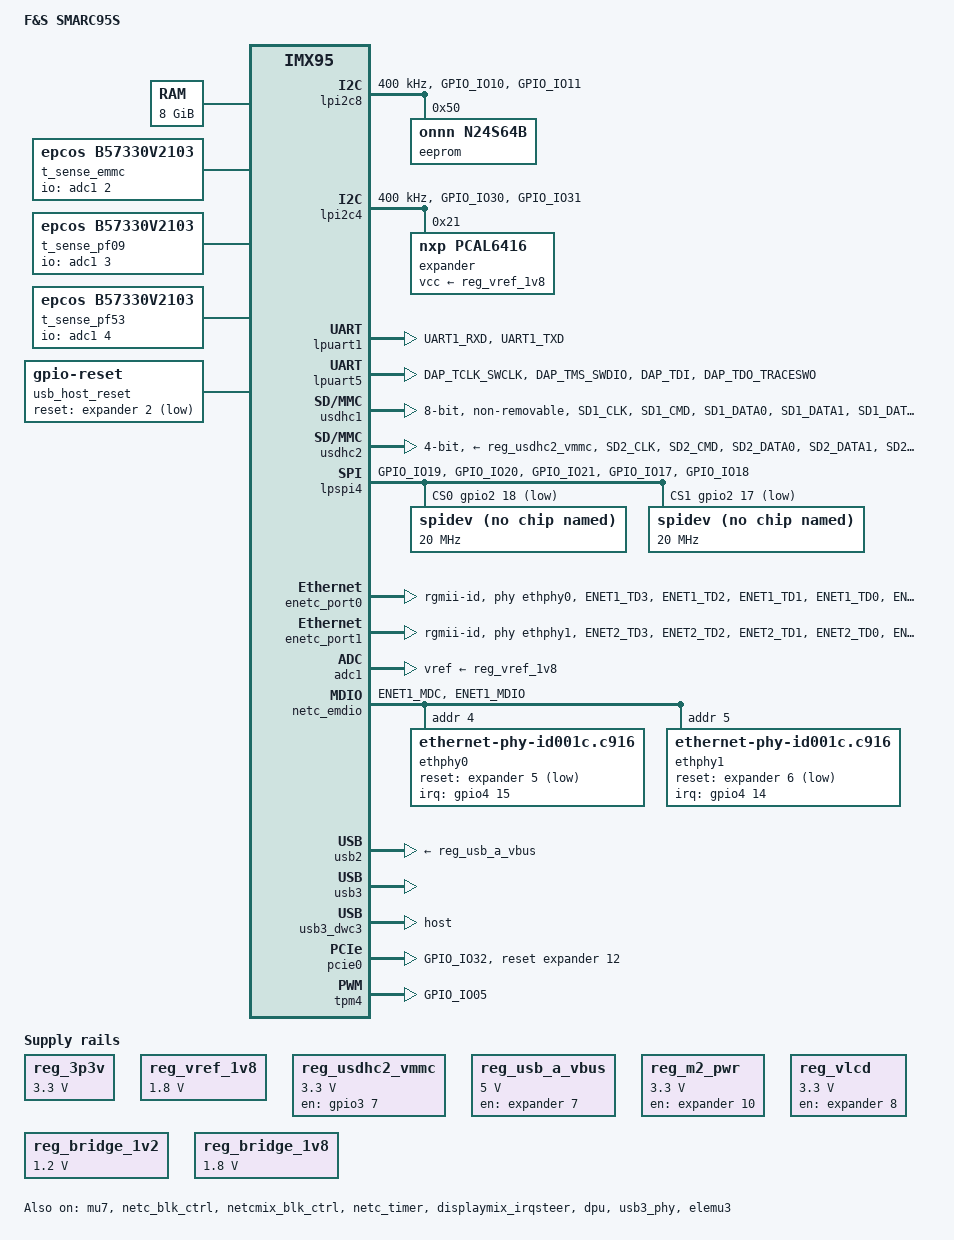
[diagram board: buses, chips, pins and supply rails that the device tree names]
// SPDX-License-Identifier: (GPL-2.0+ OR MIT)
/*
 * Copyright 2025 NXP
 */

/dts-v1/;

#include <dt-bindings/i3c/i3c.h>
#include <dt-bindings/leds/common.h>
#include <dt-bindings/phy/phy-imx8-pcie.h>
#include <dt-bindings/pwm/pwm.h>
#include <dt-bindings/usb/pd.h>
#include "../freescale/imx95.dtsi"

#define DEV_SM_NUM_CTRL             0x8000

#define BRD_SM_CTRL_T_SENSE_EV_n    (DEV_SM_NUM_CTRL +  0)  /*!< PCAL6524 Pin  1 */
#define BRD_SM_CTRL_BATLOW_n        (DEV_SM_NUM_CTRL +  1)  /*!< PCAL6524 Pin  2 */
#define BRD_SM_CTRL_CHARGER_PRSNT_n (DEV_SM_NUM_CTRL +  2)  /*!< PCAL6524 Pin  3 */
#define BRD_SM_CTRL_CHARGING_n      (DEV_SM_NUM_CTRL +  3)  /*!< PCAL6524 Pin  4 */
#define BRD_SM_CTRL_SMB_ALERT_n     (DEV_SM_NUM_CTRL +  4)  /*!< PCAL6524 Pin  5 */
#define BRD_SM_CTRL_TEST_n          (DEV_SM_NUM_CTRL +  5)  /*!< PCAL6524 Pin  6 */
#define BRD_SM_CTRL_SLEEP_n         (DEV_SM_NUM_CTRL +  6)  /*!< PCAL6524 Pin  7 */
#define BRD_SM_CTRL_LID_n           (DEV_SM_NUM_CTRL +  7)  /*!< PCAL6524 Pin  8 */
#define BRD_SM_CTRL_SEC_EN_IRQ_n    (DEV_SM_NUM_CTRL +  8)  /*!< PCAL6524 Pin  9 */
#define BRD_SM_CTRL_PCIe_A_WAKE_n   (DEV_SM_NUM_CTRL +  9)  /*!< PCAL6524 Pin 14 */
#define BRD_SM_CTRL_WLAN_WAKE_HOST  (DEV_SM_NUM_CTRL + 10)  /*!< PCAL6524 Pin 18 */
#define BRD_SM_CTRL_BT_WAKE_HOST    (DEV_SM_NUM_CTRL + 11)  /*!< PCAL6524 Pin 20 */
#define BRD_SM_CTRL_SN65DSI86_INT   (DEV_SM_NUM_CTRL + 12)  /*!< PCAL6524 Pin 21 */

fs_i2c_pm: &lpi2c2 {};
fs_i2c_gp: &lpi2c8 {};
fs_i2c_lcd: &lpi2c5 {};
fs_i2c_cam_a_lcd: &lpi2c3 {};
fs_i2c_cam_b: &lpi2c6 {};
fs_i2c_int: &lpi2c4 {};
fs_uart_a: &lpuart1 {};
fs_uart_b: &lpuart8 {};
fs_uart_c: &lpuart5 {};
fs_uart_d: &lpuart3 {};
emmc: &usdhc1 {};
fs_sdio_sd: &usdhc2 {};
fs_spi_a: &lpspi4 {};
fs_qspi: &flexspi1 {};
fs_eth_a: &enetc_port0 {};
fs_eth_b: &enetc_port1 {};
fs_csi0: &mipi_csi0 {};
fs_can0: &flexcan1 {};
fs_can1: &flexcan3 {};


/ {
	model = "F&S SMARC95S";
	compatible = "fsl,imx95-15x15-evk", "fsl,imx95";

	chosen {
		bootargs = "console=ttyLP0,115200";
		stdout-path = &fs_uart_a;
	};

	aliases {
		gpio0 = &gpio1;
		gpio1 = &gpio2;
		gpio2 = &gpio3;
		gpio3 = &gpio4;
		gpio4 = &gpio5;
		i2c0 = &fs_i2c_pm;
		i2c1 = &fs_i2c_gp;
		i2c2 = &fs_i2c_cam_a_lcd;
		i2c3 = &fs_i2c_cam_b;
		i2c4 = &fs_i2c_int;
		mmc0 = &emmc;
		mmc1 = &usdhc2;
		mmc2 = &usdhc3;
		serial0 = &fs_uart_a;
		serial1 = &fs_uart_b;
		serial2 = &fs_uart_c;
		serial3 = &fs_uart_d;
		ethernet0 = &fs_eth_a;
		ethernet1 = &fs_eth_b;
		spi0 = &fs_spi_a;
		spi1 = &fs_qspi;
		can0 = &fs_can0;
		can1 = &fs_can1;
	};

	memory@80000000 {
		device_type = "memory";
		reg = <
			0x0 0x80000000 0x0 0x80000000
			0x1 0x00000000 0x1 0x80000000
		>;
	};

	mali_pma: protected-memory-allocator {
		 compatible = "arm,protected-memory-allocator";
		 memory-region = <&mali_protected>;
	};

	reserved-memory {
		ranges;
		#address-cells = <2>;
		#size-cells = <2>;

		linux_cma: linux,cma {
			compatible = "shared-dma-pool";
			alloc-ranges = <0 0x80000000 0 0x7F000000>;
			reusable;
			size = <0 0x3c000000>;
			linux,cma-default;
		};

		vdev0vring0: vdev0vring0@88000000 {
			reg = <0 0x88000000 0 0x8000>;
			no-map;
		};

		vdev0vring1: vdev0vring1@88008000 {
			reg = <0 0x88008000 0 0x8000>;
			no-map;
		};

		vdev1vring0: vdev1vring0@88010000 {
			reg = <0 0x88010000 0 0x8000>;
			no-map;
		};

		vdev1vring1: vdev1vring1@88018000 {
			reg = <0 0x88018000 0 0x8000>;
			no-map;
		};

		vdevbuffer: vdevbuffer@88020000 {
			compatible = "shared-dma-pool";
			reg = <0 0x88020000 0 0x100000>;
			no-map;
		};

		rsc_table: rsc-table@88220000 {
			reg = <0 0x88220000 0 0x1000>;
			no-map;
		};

		vpu_boot: vpu_boot@a0000000 {
			reg = <0 0xa0000000 0 0x100000>;
			no-map;
		};

		mali_protected: mali_protected {
			reg = <0 0xa0100000 0 0x1000000>;
			no-map;
		};
	};
	/*
	dp_connector: dp-connector {
		compatible = "dp-connector";
		type = "full-size";

		port {
			dp_connector_in: endpoint {
				remote-endpoint = <&sn65dsi86_out>;
			};
		};
	};*/

	t_sense_emmc: thermistor-1 {
		/* "epcos,b57330v2103" has the same B values as Panasonic ERT-JZEG103FA */
		compatible = "epcos,b57330v2103";
		io-channels = <&adc1 2>;
		pullup-uv = <1800000>;
		pullup-ohm = <10000>;
		pulldown-ohm = <0>;
		#thermal-sensor-cells = <0>;
    };

	t_sense_pf09: thermistor-2 {
		/* "epcos,b57330v2103" has the same B values as Panasonic ERT-JZEG103FA */
		compatible = "epcos,b57330v2103";
		io-channels = <&adc1 3>;
		pullup-uv = <1800000>;
		pullup-ohm = <10000>;
		pulldown-ohm = <0>;
		#thermal-sensor-cells = <0>;
    };

	t_sense_pf53: thermistor-3 {
		/* "epcos,b57330v2103" has the same B values as Panasonic ERT-JZEG103FA */
		compatible = "epcos,b57330v2103";
		io-channels = <&adc1 4>;
		pullup-uv = <1800000>;
		pullup-ohm = <10000>;
		pulldown-ohm = <0>;
		#thermal-sensor-cells = <0>;
    };

	reg_3p3v: regulator-3p3v {
		compatible = "regulator-fixed";
		regulator-max-microvolt = <3300000>;
		regulator-min-microvolt = <3300000>;
		regulator-name = "+V3.3_SW";
		regulator-always-on;
	};

	reg_vref_1v8: regulator_1v8 {
		compatible = "regulator-fixed";
		regulator-name = "vref-1V8";
		regulator-min-microvolt = <1800000>;
		regulator-max-microvolt = <1800000>;
		regulator-always-on;
		regulator-boot-on;
	};

	reg_usdhc2_vmmc: regulator-usdhc2 {
		compatible = "regulator-fixed";
		pinctrl-names = "default";
		pinctrl-0 = <&pinctrl_reg_usdhc2_vmmc>;
		regulator-name = "VDD_SD2_3V3";
		regulator-min-microvolt = <3300000>;
		regulator-max-microvolt = <3300000>;
		gpio = <&gpio3 7 GPIO_ACTIVE_HIGH>;
		off-on-delay-us = <12000>;
		enable-active-high;
	};

	reg_usb_a_vbus: regulator-usb-a-vbus {
		compatible = "regulator-fixed";
		regulator-name = "usb_a_vbus";
		regulator-min-microvolt = <5000000>;
		regulator-max-microvolt = <5000000>;
		gpio = <&expander 7 GPIO_ACTIVE_HIGH>; /* P0_7 controls USB_A_EN_3v3*/
		enable-active-high;
	};

	reg_m2_pwr: regulator-m2-pwr {
		compatible = "regulator-fixed";
		regulator-name = "M.2-power";
		regulator-min-microvolt = <3300000>;
		regulator-max-microvolt = <3300000>;
		gpio = <&expander 10 GPIO_ACTIVE_HIGH>;
		enable-active-high;
		regulator-always-on;
	};

	reg_vlcd: vlcd {
		compatible = "regulator-fixed";
		regulator-name = "VLCD_ON";
		gpio = <&expander 8 GPIO_ACTIVE_HIGH>;
		regulator-min-microvolt = <3300000>;
		regulator-max-microvolt = <3300000>;
		enable-active-high;
	};

	reg_bridge_1v2: regulator-bridge-1v2 {
		compatible = "regulator-fixed";
		regulator-name = "SN65DSI86_1V2";
		regulator-min-microvolt = <1200000>;
		regulator-max-microvolt = <1200000>;
		regulator-always-on;
	};

	reg_bridge_1v8: regulator-bridge-1v8 {
		compatible = "regulator-fixed";
		regulator-name = "SN65DSI86_1V8";
		regulator-min-microvolt = <1800000>;
		regulator-max-microvolt = <1800000>;
		regulator-always-on;
	};

	usb_host_reset: gpio-reset {
		compatible = "gpio-reset";
		reset-gpios = <&expander 2 GPIO_ACTIVE_LOW>;
		reset-delay-us = <1000>;
		#reset-cells = <0>;
	};

	/* SE050 power on voltage */
	reg_vref_se050: regulator_se050 {
		compatible = "regulator-fixed";
		regulator-name = "SE050_IRQ";
		gpio = <&pcal6524 8 GPIO_ACTIVE_LOW>;
		regulator-min-microvolt = <1800000>;
		regulator-max-microvolt = <1800000>;
		regulator-always-on;
		enable-active-high;
		status = "disabled";
	};
};

&adc1 {
	vref-supply = <&reg_vref_1v8>;
	status = "okay";
};

&fs_qspi {
	num-cs = <2>;
	pinctrl-names = "default";
	pinctrl-0 = <&pinctrl_flexspi1 &pinctrl_flexspi1_spi_cs>;
	//assigned-clock-rates = <80000000>;
	status = "disabled";

	spidev@0 {
		compatible = "linux,spidev";
		reg = <0>;
		spi-max-frequency = <20000000>;
		status = "okay";
	};

	spidev@1 {
		compatible = "linux,spidev";
		reg = <1>;
		spi-max-frequency = <20000000>;
		status = "okay";
	};
};

&fs_spi_a {
	pinctrl-names = "default";
	pinctrl-0 = <&pinctrl_lpspi4 &pinctrl_lpspi4_cs>;
	cs-gpios = <&gpio2 18 GPIO_ACTIVE_LOW>, <&gpio2 17 GPIO_ACTIVE_LOW>;
	num-cs = <2>;
	status = "okay";

	spidev@0 {
		compatible = "linux,spidev";
		spi-max-frequency = <20000000>;
		reg = <0>;
		status = "okay";
	};

	spidev@1 {
		compatible = "linux,spidev";
		spi-max-frequency = <20000000>;
		reg = <1>;
		status = "okay";
	};
};

&flexcan1 {
	pinctrl-names = "default";
	pinctrl-0 = <&pinctrl_flexcan1>;
	status = "disabled";
};

&flexcan3 {
	pinctrl-names = "default";
	pinctrl-0 = <&pinctrl_flexcan3>;
	status = "disabled";
};

&sai2 {
    status = "disabled";
};

&fs_i2c_gp {
	#address-cells = <1>;
	#size-cells = <0>;
	clock-frequency = <400000>;
	pinctrl-names = "default";
	pinctrl-0 = <&pinctrl_lpi2c8>;
	status = "okay";

	eeprom: eeprom@50 {
		compatible = "onnn,n24s64b", "atmel,24c64";
		reg = <0x50>;
		size = <8192>;
		pagesize = <32>;
	};
};

&fs_i2c_pm {
	#address-cells = <1>;
	#size-cells = <0>;
	clock-frequency = <400000>;
	pinctrl-names = "default";
	pinctrl-0 = <&pinctrl_lpi2c2>;
	status = "disabled";

	pcal6524: gpio@22 {
		compatible = "nxp,pcal6524";
		pinctrl-names = "default";
		pinctrl-0 = <&pinctrl_pcal6524>;
		reg = <0x22>;
		gpio-controller;
		#gpio-cells = <2>;
		interrupt-controller;
		#interrupt-cells = <2>;
		interrupt-parent = <&gpio5>;
		interrupts = <14 IRQ_TYPE_LEVEL_LOW>;
		status = "disabled";
	};
};

&fs_i2c_lcd {
	#address-cells = <1>;
	#size-cells = <0>;
	clock-frequency = <400000>;
	pinctrl-names = "default";
	pinctrl-0 = <&pinctrl_lpi2c5>;
	status = "disabled";
};


&fs_i2c_int {
	#address-cells = <1>;
	#size-cells = <0>;
	clock-frequency = <400000>;
	pinctrl-names = "default";
	pinctrl-0 = <&pinctrl_lpi2c4>;
	status = "okay";

    expander: gpio@21 {
        compatible = "nxp,pcal6416";
        reg = <0x21>;

        vcc-supply = <&reg_vref_1v8>;

        gpio-controller;
        #gpio-cells = <2>;
        ngpios = <16>;
        pcal6416,port0-open-drain;
        gpio-line-names =
            "bt_rst",
            "wlan_rst",
            "usb_hub_rst",
            "wlan_bt_pd",
            "usb_c_en",
            "eth_a_phy_rst",
            "eth_b_phy_rst",
            "usb_a_en",
            "lvds_a_vdd_en",
            "lvds_a_bl_en",
            "lvds_b_vdd_en",
            "lvds_b_bl_en",
            "pcie_rst",
            "sn65dsi86_en",
            "wlan_wake_dev",
            "bt_wake_dev";
    };
};

&lpi2c5 {
	#address-cells = <1>;
	#size-cells = <0>;
	clock-frequency = <400000>;
	pinctrl-names = "default";
	pinctrl-0 = <&pinctrl_lpi2c5>;
	status = "disabled";
};

/* M33 and A55 */
&fs_uart_a {
	/* console */
	pinctrl-names = "default";
	pinctrl-0 = <&pinctrl_uart1>;
	status = "okay";
};

&fs_uart_b {
    status = "disabled";
};

&fs_uart_c {
	pinctrl-names = "default";
	pinctrl-0 = <&pinctrl_uart5>;
	fsl,uart-has-rtscts;
    status = "okay";
};

/* M7 */
&fs_uart_d {
    status = "disabled";
};

&usdhc1 {
	pinctrl-names = "default", "state_100mhz", "state_200mhz";
	pinctrl-0 = <&pinctrl_usdhc1>;
	pinctrl-1 = <&pinctrl_usdhc1_100mhz>;
	pinctrl-2 = <&pinctrl_usdhc1_200mhz>;
	bus-width = <8>;
	non-removable;
	no-sdio;
	no-sd;
	status = "okay";
};

&usdhc2 {
	pinctrl-names = "default", "state_100mhz", "state_200mhz";
	pinctrl-0 = <&pinctrl_usdhc2>, <&pinctrl_usdhc2_gpio>;
	pinctrl-1 = <&pinctrl_usdhc2_100mhz>, <&pinctrl_usdhc2_gpio>;
	pinctrl-2 = <&pinctrl_usdhc2_200mhz>, <&pinctrl_usdhc2_gpio>;
	cd-gpios = <&gpio3 00 GPIO_ACTIVE_LOW>;
	vmmc-supply = <&reg_usdhc2_vmmc>;
	bus-width = <4>;
	status = "okay";
};

&netc_bus0 {
	msi-map = <0x0 &its 0x60 0x1>,	//ENETC0 PF
		  <0x10 &its 0x61 0x1>, //ENETC0 VF0
		  <0x20 &its 0x62 0x1>, //ENETC0 VF1
		  <0x40 &its 0x63 0x1>, //ENETC1 PF
		  <0x50 &its 0x65 0x1>, //ENETC1 VF0
		  <0x60 &its 0x66 0x1>, //ENETC1 VF1
		  <0x80 &its 0x64 0x1>, //ENETC2 PF
		  <0xc0 &its 0x67 0x1>; //NETC Timer
	iommu-map = <0x0 &smmu 0x20 0x1>,
		    <0x10 &smmu 0x21 0x1>,
		    <0x20 &smmu 0x22 0x1>,
		    <0x40 &smmu 0x23 0x1>,
		    <0x50 &smmu 0x25 0x1>,
		    <0x60 &smmu 0x26 0x1>,
		    <0x80 &smmu 0x24 0x1>,
		    <0xc0 &smmu 0x27 0x1>;
};

&fs_eth_a {
	pinctrl-names = "default";
	pinctrl-0 = <&pinctrl_enetc0>;
	phy-handle = <&ethphy0>;
	phy-mode = "rgmii-id";
	status = "okay";
};

&fs_eth_b {
	pinctrl-names = "default";
	pinctrl-0 = <&pinctrl_enetc1>;
	phy-handle = <&ethphy1>;
	phy-mode = "rgmii-id";
	status = "okay";
};


&mali {
	protected-memory-allocator = <&mali_pma>;
};


&mu7 {
	status = "okay";
};

&netc_blk_ctrl {
	status = "okay";
};

&netcmix_blk_ctrl {
	status = "okay";
};

&netc_timer {
	status = "okay";
};


&netc_emdio {
    pinctrl-names = "default";
    pinctrl-0 = <&pinctrl_emdio>;
    status = "okay";

    ethphy0: ethernet-phy@4 {
        reg = <4>;
		/* RTL8211FDI : 001c.c916 */
		compatible = "ethernet-phy-id001c.c916";
        interrupt-parent = <&gpio4>;
        interrupts = <15 IRQ_TYPE_LEVEL_LOW>;
        reset-gpios = <&expander 5 GPIO_ACTIVE_LOW>;
        reset-assert-us = <50000>;
        reset-deassert-us = <150000>;
    };

    ethphy1: ethernet-phy@5 {
        reg = <5>;
		/* RTL8211FDI : 001c.c916 */
		compatible = "ethernet-phy-id001c.c916";
        interrupt-parent = <&gpio4>;
        interrupts = <14 IRQ_TYPE_LEVEL_LOW>;
        reset-gpios = <&expander 6 GPIO_ACTIVE_LOW>;
        reset-assert-us = <50000>;
        reset-deassert-us = <150000>;
    };
};

&i3c2 {
    status = "disabled";
};

&usb2 {
    status = "okay";
    vbus-supply = <&reg_usb_a_vbus>;
    disable-over-current;
};

&displaymix_irqsteer {
	status = "okay";
};

&dpu {
	status = "okay";
};

&usb3_phy {
	status = "okay";
	/delete-property/ orientation-switch;
	fsl,tca-reverse-orientation;
};

/* USB3_GLUE */
&usb3 { status = "okay"; };
&usb3_dwc3 {
    resets = <&usb_host_reset>;
    status = "okay";
    dr_mode = "host";
    /* vbus on wired to 3v3 */
    disable-over-current;
	hnp-disable;
    srp-disable;
    adp-disable;
    snps,dis-u1-entry-quirk;
    snps,dis-u2-entry-quirk;
	fsl,permanently-attached; /* USB hub is permanently attached */
};

&pcie0 {
	pinctrl-0 = <&pinctrl_pcie0>;
	pinctrl-names = "default";
	fsl,refclk-pad-mode = <IMX8_PCIE_REFCLK_PAD_OUTPUT>;
	reset-gpio = <&expander 12 GPIO_ACTIVE_HIGH>;
	vpcie-supply = <&reg_m2_pwr>;
	/delete-property/ supports-clkreq;
	status = "okay";
};

&vpuctrl {
	boot = <&vpu_boot>;
	sram = <&sram1>;
};

&thermal_zones {
	pf09 {
		polling-delay-passive = <250>;
		polling-delay = <2000>;
		thermal-sensors = <&scmi_sensor 2>;
		trips {
			pf09_alert: trip0 {
				temperature = <140000>;
				hysteresis = <2000>;
				type = "passive";
			};

			pf09_crit: trip1 {
				temperature = <155000>;
				hysteresis = <2000>;
				type = "critical";
			};
		};
	};

	pf53_soc {
		polling-delay-passive = <250>;
		polling-delay = <2000>;
		thermal-sensors = <&scmi_sensor 3>;
		trips {
			pf5302_alert: trip0 {
				temperature = <140000>;
				hysteresis = <2000>;
				type = "passive";
			};

			pf5302_crit: trip1 {
				temperature = <155000>;
				hysteresis = <2000>;
				type = "critical";
			};
		};
	};

	pf53_arm {
		polling-delay-passive = <250>;
		polling-delay = <2000>;
		thermal-sensors = <&scmi_sensor 4>;
		trips {
			pf5301_alert: trip0 {
				temperature = <140000>;
				hysteresis = <2000>;
				type = "passive";
			};

			pf5301_crit: trip1 {
				temperature = <155000>;
				hysteresis = <2000>;
				type = "critical";
			};
		};
	};

	p3t1755 {
		polling-delay-passive = <250>;
		polling-delay = <2000>;
		thermal-sensors = <&scmi_sensor 5>;
		trips {
			p3t1755_alert: trip0 {
				temperature = <80000>;
				hysteresis = <2000>;
				type = "passive";
			};

			p3t1755_crit: trip1 {
				temperature = <105000>;
				hysteresis = <2000>;
				type = "critical";
			};
		};
	};

	emmc_ntc {
		polling-delay-passive = <1000>;
		polling-delay = <2000>;
		thermal-sensors = <&t_sense_emmc>;
		trips {
			emmc_crit: trip0 {
				temperature = <125000>;
				hysteresis = <2000>;
				type = "critical";
			};
		};
	};

	pf09_ntc {
		polling-delay-passive = <1000>;
		polling-delay = <2000>;
		thermal-sensors = <&t_sense_pf09>;
		trips {
			pf09_ntc_crit: trip0 {
				temperature = <125000>;
				hysteresis = <2000>;
				type = "critical";
			};
		};
	};

	pf53_ntc {
		polling-delay-passive = <1000>;
		polling-delay = <2000>;
		thermal-sensors = <&t_sense_pf53>;
		trips {
			pf53_ntc_crit: trip0 {
				temperature = <125000>;
				hysteresis = <2000>;
				type = "critical";
			};
		};
	};
};


&scmi_misc {
	nxp,ctrl-ids = <BRD_SM_CTRL_T_SENSE_EV_n    1
			BRD_SM_CTRL_BATLOW_n        1
			BRD_SM_CTRL_CHARGER_PRSNT_n 1
			BRD_SM_CTRL_CHARGING_n      1
			BRD_SM_CTRL_SMB_ALERT_n     1
			BRD_SM_CTRL_TEST_n          1
			BRD_SM_CTRL_SLEEP_n         1
			BRD_SM_CTRL_LID_n           1
			BRD_SM_CTRL_SEC_EN_IRQ_n    1
			BRD_SM_CTRL_PCIe_A_WAKE_n   1
			BRD_SM_CTRL_WLAN_WAKE_HOST  1
			BRD_SM_CTRL_BT_WAKE_HOST    1
			BRD_SM_CTRL_SN65DSI86_INT   1>;
};

&scmi_iomuxc {

	pinctrl_flexspi1: flexspi1spigrp {
		fsl,pins = <
			IMX95_PAD_SD3_CLK__FLEXSPI1_A_SCLK			0x82
			IMX95_PAD_SD3_DATA0__FLEXSPI1_A_DATA_BIT0		0x82
			IMX95_PAD_SD3_DATA1__FLEXSPI1_A_DATA_BIT1		0x82
			IMX95_PAD_SD3_DATA2__FLEXSPI1_A_DATA_BIT2		0x82
			IMX95_PAD_SD3_DATA3__FLEXSPI1_A_DATA_BIT3		0x82
		>;
	};

	pinctrl_flexspi1_spi_cs: flexspi1spicsgrp {
		fsl,pins = <
			IMX95_PAD_SD3_CMD__FLEXSPI1_A_SS0_B			0x82
			IMX95_PAD_XSPI1_SS1_B__FLEXSPI1_A_SS1_B			0x82
		>;
	};

	pinctrl_lpspi4: lpspi4grp {
		fsl,pins = <
			IMX95_PAD_GPIO_IO19__LPSPI4_SIN				0x82
			IMX95_PAD_GPIO_IO20__LPSPI4_SOUT			0x82
			IMX95_PAD_GPIO_IO21__LPSPI4_SCK				0x82
		>;
	};

	pinctrl_lpspi4_cs: lpspi4cs {
		fsl,pins = <
			IMX95_PAD_GPIO_IO17__GPIO2_IO_BIT17 			0x82
			IMX95_PAD_GPIO_IO18__GPIO2_IO_BIT18			0x82
		>;
	};

	pinctrl_flexcan1: flexcan1grp {
		fsl,pins = <
			IMX95_PAD_PDM_CLK__AONMIX_TOP_CAN1_TX			0x154
			IMX95_PAD_PDM_BIT_STREAM0__AONMIX_TOP_CAN1_RX		0x154
		>;
	};

	pinctrl_flexcan3: flexcan3grp {
		fsl,pins = <
			IMX95_PAD_CCM_CLKO3__CAN3_TX				0x154
			IMX95_PAD_CCM_CLKO4__CAN3_RX				0x154
		>;
	};


	pinctrl_lpi2c1: lpi2c1grp {
		fsl,pins = <
			IMX95_PAD_I2C1_SCL__AONMIX_TOP_LPI2C1_SCL	0x40000b9e
			IMX95_PAD_I2C1_SDA__AONMIX_TOP_LPI2C1_SDA	0x40000b9e
		>;
	};

	pinctrl_lpi2c2: lpi2c2grp {
		fsl,pins = <
			IMX95_PAD_I2C2_SCL__AONMIX_TOP_LPI2C2_SCL	0x40000b9e
			IMX95_PAD_I2C2_SDA__AONMIX_TOP_LPI2C2_SDA	0x40000b9e
		>;
	};

	pinctrl_lpi2c8: lpi2c8grp {
		fsl,pins = <
			IMX95_PAD_GPIO_IO10__LPI2C8_SDA			0x40000b9e
			IMX95_PAD_GPIO_IO11__LPI2C8_SCL			0x40000b9e
		>;
	};

	pinctrl_lpi2c3: lpi2c3grp {
		fsl,pins = <
			IMX95_PAD_GPIO_IO28__LPI2C3_SDA			0x40000b9e
			IMX95_PAD_GPIO_IO29__LPI2C3_SCL			0x40000b9e
		>;
	};

	pinctrl_lpi2c4: lpi2c4grp {
		fsl,pins = <
			IMX95_PAD_GPIO_IO30__LPI2C4_SDA			0x40000b9e
			IMX95_PAD_GPIO_IO31__LPI2C4_SCL			0x40000b9e
		>;
	};

	pinctrl_lpi2c6: lpi2c6grp {
		fsl,pins = <
			IMX95_PAD_GPIO_IO02__LPI2C6_SDA			0x40000b9e
			IMX95_PAD_GPIO_IO03__LPI2C6_SCL			0x40000b9e
		>;
	};

	pinctrl_lpi2c5: lpi2c5grp {
		fsl,pins = <
			IMX95_PAD_GPIO_IO00__LPI2C5_SDA			0x40000b9e
			IMX95_PAD_GPIO_IO01__LPI2C5_SCL			0x40000b9e
		>;
	};

//	pinctrl_mipi_dsi_csi: mipidsigrp {
//		fsl,pins = <
//			IMX95_PAD_CCM_CLKO3__GPIO4_IO_BIT28			0x31e
//			IMX95_PAD_XSPI1_DATA6__GPIO5_IO_BIT6			0x31e
//			IMX95_PAD_XSPI1_DATA7__GPIO5_IO_BIT7		0x31e
//		>;
//	};

	pinctrl_pcal6524: pcal6524grp {
		fsl,pins = <
			IMX95_PAD_GPIO_IO34__GPIO5_IO_BIT14		0x31e
		>;
	};

	pinctrl_pcie0: pcie0grp {
		fsl,pins = <
			IMX95_PAD_GPIO_IO32__HSIOMIX_TOP_PCIE1_CLKREQ_B		0x40000b1e
		>;
	};

	pinctrl_uart1: uart1grp {
		fsl,pins = <
			IMX95_PAD_UART1_RXD__AONMIX_TOP_LPUART1_RX      0x31e
			IMX95_PAD_UART1_TXD__AONMIX_TOP_LPUART1_TX      0x31e
		>;
	};

	pinctrl_uart8: uart8grp {
		fsl,pins = <
        	IMX95_PAD_GPIO_IO12__LPUART8_TX  0x31e
        	IMX95_PAD_GPIO_IO13__LPUART8_RX  0x31e
		>;
	};

	pinctrl_uart5: uart5grp {
		fsl,pins = <
			IMX95_PAD_DAP_TCLK_SWCLK__LPUART5_CTS_B 0x31e /* UART_C_BT_CTS */
			IMX95_PAD_DAP_TMS_SWDIO__LPUART5_RTS_B 0x31e /* UART_C_BT_RTS */
			IMX95_PAD_DAP_TDI__LPUART5_RX 0x31e /* UART_C_BT_RX */
			IMX95_PAD_DAP_TDO_TRACESWO__LPUART5_TX 0x31e /* UART_C_BT_TX */
		>;
	};

	pinctrl_enetc0: enetc0grp {
		fsl,pins = <
			IMX95_PAD_ENET1_TD3__NETCMIX_TOP_ETH0_RGMII_TD3		0x50e
			IMX95_PAD_ENET1_TD2__NETCMIX_TOP_ETH0_RGMII_TD2		0x50e
			IMX95_PAD_ENET1_TD1__NETCMIX_TOP_ETH0_RGMII_TD1		0x50e
			IMX95_PAD_ENET1_TD0__NETCMIX_TOP_ETH0_RGMII_TD0		0x50e
			IMX95_PAD_ENET1_TX_CTL__NETCMIX_TOP_ETH0_RGMII_TX_CTL	0x57e
			IMX95_PAD_ENET1_TXC__NETCMIX_TOP_ETH0_RGMII_TX_CLK	0x58e
			IMX95_PAD_ENET1_RX_CTL__NETCMIX_TOP_ETH0_RGMII_RX_CTL	0x57e
			IMX95_PAD_ENET1_RXC__NETCMIX_TOP_ETH0_RGMII_RX_CLK	0x58e
			IMX95_PAD_ENET1_RD0__NETCMIX_TOP_ETH0_RGMII_RD0		0x57e
			IMX95_PAD_ENET1_RD1__NETCMIX_TOP_ETH0_RGMII_RD1		0x57e
			IMX95_PAD_ENET1_RD2__NETCMIX_TOP_ETH0_RGMII_RD2		0x57e
			IMX95_PAD_ENET1_RD3__NETCMIX_TOP_ETH0_RGMII_RD3		0x57e
			/* ETH_A_INT# (Pad ENET2_MDIO as GPIO) */
			IMX95_PAD_ENET2_MDIO__GPIO4_IO_BIT15			0x31e
		>;
	};

	pinctrl_enetc1: enetc1grp {
		fsl,pins = <
			/* RGMII Pins for Port 1 */
			IMX95_PAD_ENET2_TD3__NETCMIX_TOP_ETH1_RGMII_TD3		0x50e
			IMX95_PAD_ENET2_TD2__NETCMIX_TOP_ETH1_RGMII_TD2		0x50e
			IMX95_PAD_ENET2_TD1__NETCMIX_TOP_ETH1_RGMII_TD1		0x50e
			IMX95_PAD_ENET2_TD0__NETCMIX_TOP_ETH1_RGMII_TD0		0x50e
			IMX95_PAD_ENET2_TX_CTL__NETCMIX_TOP_ETH1_RGMII_TX_CTL	0x57e
			IMX95_PAD_ENET2_TXC__NETCMIX_TOP_ETH1_RGMII_TX_CLK	0x58e
			IMX95_PAD_ENET2_RX_CTL__NETCMIX_TOP_ETH1_RGMII_RX_CTL	0x57e
			IMX95_PAD_ENET2_RXC__NETCMIX_TOP_ETH1_RGMII_RX_CLK	0x58e
			IMX95_PAD_ENET2_RD0__NETCMIX_TOP_ETH1_RGMII_RD0		0x57e
			IMX95_PAD_ENET2_RD1__NETCMIX_TOP_ETH1_RGMII_RD1		0x57e
			IMX95_PAD_ENET2_RD2__NETCMIX_TOP_ETH1_RGMII_RD2		0x57e
			IMX95_PAD_ENET2_RD3__NETCMIX_TOP_ETH1_RGMII_RD3		0x57e
			/* ETH_B_INT# (Pad ENET2_MDC as GPIO) */
			IMX95_PAD_ENET2_MDC__GPIO4_IO_BIT14			0x31e
		>;
	};

	pinctrl_emdio: emdiogrp {
		fsl,pins = <
			IMX95_PAD_ENET1_MDC__NETCMIX_TOP_NETC_MDC		0x30e
			IMX95_PAD_ENET1_MDIO__NETCMIX_TOP_NETC_MDIO		0x90e
		>;
	};

	// pinctrl_cam1: csi1grp {
	// 	fsl,pins = <
	// 		IMX95_PAD_XSPI1_DATA5__GPIO5_IO_BIT5  						0x31e
	// 		IMX95_PAD_XSPI1_DATA7__GPIO5_IO_BIT7  						0x31e
	// 	>;
	// };

	// pinctrl_cam_mclk: cammclkgrp {
	// 	fsl,pins = <
	// 		IMX95_PAD_CCM_CLKO2__CCMSRCGPCMIX_TOP_CLKO_2 				0x1fe
	// 	>;
	// };

	pinctrl_mipi_dsi_csi: mipidsigrp {
		fsl,pins = <
			IMX95_PAD_XSPI1_DATA4__GPIO5_IO_BIT4  						0x31e
			IMX95_PAD_CCM_CLKO2__CCMSRCGPCMIX_TOP_CLKO_2 				0x1fe
		>;
	};

	/* eMMC */
	pinctrl_usdhc1: usdhc1grp {
		fsl,pins = <
			IMX95_PAD_SD1_CLK__USDHC1_CLK				0x158e
			IMX95_PAD_SD1_CMD__USDHC1_CMD				0x138e
			IMX95_PAD_SD1_DATA0__USDHC1_DATA0			0x138e
			IMX95_PAD_SD1_DATA1__USDHC1_DATA1			0x138e
			IMX95_PAD_SD1_DATA2__USDHC1_DATA2			0x138e
			IMX95_PAD_SD1_DATA3__USDHC1_DATA3			0x138e
			IMX95_PAD_SD1_DATA4__USDHC1_DATA4			0x138e
			IMX95_PAD_SD1_DATA5__USDHC1_DATA5			0x138e
			IMX95_PAD_SD1_DATA6__USDHC1_DATA6			0x138e
			IMX95_PAD_SD1_DATA7__USDHC1_DATA7			0x138e
			IMX95_PAD_SD1_STROBE__USDHC1_STROBE			0x158e
		>;
	};

	pinctrl_usdhc1_100mhz: usdhc1-100mhzgrp {
		fsl,pins = <
			IMX95_PAD_SD1_CLK__USDHC1_CLK				0x158e
			IMX95_PAD_SD1_CMD__USDHC1_CMD				0x138e
			IMX95_PAD_SD1_DATA0__USDHC1_DATA0			0x138e
			IMX95_PAD_SD1_DATA1__USDHC1_DATA1			0x138e
			IMX95_PAD_SD1_DATA2__USDHC1_DATA2			0x138e
			IMX95_PAD_SD1_DATA3__USDHC1_DATA3			0x138e
			IMX95_PAD_SD1_DATA4__USDHC1_DATA4			0x138e
			IMX95_PAD_SD1_DATA5__USDHC1_DATA5			0x138e
			IMX95_PAD_SD1_DATA6__USDHC1_DATA6			0x138e
			IMX95_PAD_SD1_DATA7__USDHC1_DATA7			0x138e
			IMX95_PAD_SD1_STROBE__USDHC1_STROBE			0x158e
		>;
	};

	pinctrl_usdhc1_200mhz: usdhc1-200mhzgrp {
		fsl,pins = <
			IMX95_PAD_SD1_CLK__USDHC1_CLK				0x15fe
			IMX95_PAD_SD1_CMD__USDHC1_CMD				0x13fe
			IMX95_PAD_SD1_DATA0__USDHC1_DATA0			0x13fe
			IMX95_PAD_SD1_DATA1__USDHC1_DATA1			0x13fe
			IMX95_PAD_SD1_DATA2__USDHC1_DATA2			0x13fe
			IMX95_PAD_SD1_DATA3__USDHC1_DATA3			0x13fe
			IMX95_PAD_SD1_DATA4__USDHC1_DATA4			0x13fe
			IMX95_PAD_SD1_DATA5__USDHC1_DATA5			0x13fe
			IMX95_PAD_SD1_DATA6__USDHC1_DATA6			0x13fe
			IMX95_PAD_SD1_DATA7__USDHC1_DATA7			0x13fe
			IMX95_PAD_SD1_STROBE__USDHC1_STROBE			0x15fe
		>;
	};

	pinctrl_reg_usdhc2_vmmc: regusdhc2vmmcgrp {
		fsl,pins = <
			IMX95_PAD_SD2_RESET_B__GPIO3_IO_BIT7			0x31e
		>;
	};

	/* SD */
	pinctrl_usdhc2_gpio: usdhc2gpiogrp {
		fsl,pins = <
			IMX95_PAD_SD2_CD_B__GPIO3_IO_BIT0			0x31e
		>;
	};

	pinctrl_usdhc2: usdhc2grp {
		fsl,pins = <
			IMX95_PAD_SD2_CLK__USDHC2_CLK				0x158e
			IMX95_PAD_SD2_CMD__USDHC2_CMD				0x138e
			IMX95_PAD_SD2_DATA0__USDHC2_DATA0			0x138e
			IMX95_PAD_SD2_DATA1__USDHC2_DATA1			0x138e
			IMX95_PAD_SD2_DATA2__USDHC2_DATA2			0x138e
			IMX95_PAD_SD2_DATA3__USDHC2_DATA3			0x138e
			IMX95_PAD_SD2_VSELECT__USDHC2_VSELECT			0x51e
		>;
	};

	pinctrl_usdhc2_100mhz: usdhc2-100mhzgrp {
		fsl,pins = <
			IMX95_PAD_SD2_CLK__USDHC2_CLK				0x158e
			IMX95_PAD_SD2_CMD__USDHC2_CMD				0x138e
			IMX95_PAD_SD2_DATA0__USDHC2_DATA0			0x138e
			IMX95_PAD_SD2_DATA1__USDHC2_DATA1			0x138e
			IMX95_PAD_SD2_DATA2__USDHC2_DATA2			0x138e
			IMX95_PAD_SD2_DATA3__USDHC2_DATA3			0x138e
			IMX95_PAD_SD2_VSELECT__USDHC2_VSELECT			0x51e
		>;
	};

	pinctrl_usdhc2_200mhz: usdhc2-200mhzgrp {
		fsl,pins = <
			IMX95_PAD_SD2_CLK__USDHC2_CLK				0x15fe
			IMX95_PAD_SD2_CMD__USDHC2_CMD				0x13fe
			IMX95_PAD_SD2_DATA0__USDHC2_DATA0			0x13fe
			IMX95_PAD_SD2_DATA1__USDHC2_DATA1			0x13fe
			IMX95_PAD_SD2_DATA2__USDHC2_DATA2			0x13fe
			IMX95_PAD_SD2_DATA3__USDHC2_DATA3			0x13fe
			IMX95_PAD_SD2_VSELECT__USDHC2_VSELECT			0x51e
		>;
	};

	pinctrl_tpm4: tpm4grp {
		fsl,pins = <
			IMX95_PAD_GPIO_IO05__TPM4_CH0		0x31e
		>;
	};

	pinctrl_gpio_test: gpiotestgrp {
		fsl,pins = <
			IMX95_PAD_GPIO_IO04__GPIO2_IO_BIT4		0x31e	/* gpio4 */
			//IMX95_PAD_GPIO_IO05__GPIO2_IO_BIT5		0x31e	/* gpio5 - muxed as TPM4_CH0 PWM instead */
			IMX95_PAD_GPIO_IO06__GPIO2_IO_BIT6		0x31e	/* gpio6 */
			IMX95_PAD_GPIO_IO07__GPIO2_IO_BIT7		0x31e	/* gpio7 */
			IMX95_PAD_GPIO_IO08__GPIO2_IO_BIT8		0x31e	/* gpio8 */
			IMX95_PAD_GPIO_IO09__GPIO2_IO_BIT9		0x31e	/* gpio9 */
			IMX95_PAD_GPIO_IO16__GPIO2_IO_BIT16		0x31e	/* gpio10 */
			IMX95_PAD_XSPI1_DQS__GPIO5_IO_BIT8		0x31e	/* gpio11 */
			IMX95_PAD_XSPI1_SS0_B__GPIO5_IO_BIT10		0x31e	/* gpio12 */
			IMX95_PAD_XSPI1_SCLK__GPIO5_IO_BIT9		0x31e	/* gpio13 */
		>;
	};
};

&gpio2 {
	pinctrl-names = "default";
	pinctrl-0 = <&pinctrl_gpio_test>;
};

&tpm4 {
	pinctrl-names = "default";
	pinctrl-0 = <&pinctrl_tpm4>;
	status = "okay";
};

&elemu1 {
    status = "disabled";
};

&elemu2 {
    status = "disabled";
};

/* only MU_ELE3 and MU_ELE4 are listed under non-secure in cfg*/
&elemu3 {
    status = "okay";
};

// #include "imx95-15x15-evk-os08a20_camera.dts"
// #include "imx95-15x15-evk-ap1302_rpi_camera.dts"
// #include "imx95-15x15-evk-jtag-swd.dts"
// #include "imx95-15x15-evk-lvds_a-ee1010b1t-1cp.dts"
// #include "imx95-15x15-evk-lvds_a-BT070L1060CS0I1AD-A.dts"
// #include "imx95-15x15-evk-lvds_b-BT070L1060CS0I1AD-A.dts"
